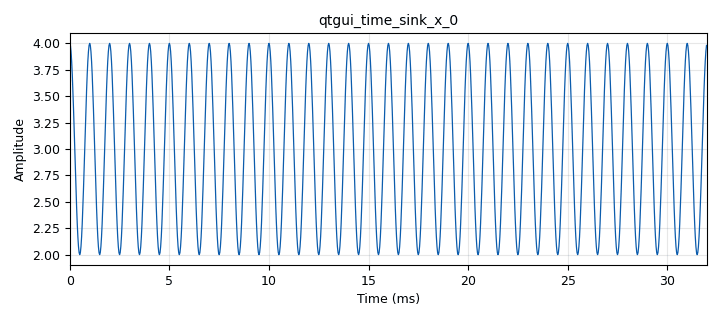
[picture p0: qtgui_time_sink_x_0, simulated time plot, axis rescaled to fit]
options:
  parameters:
    author: CarolayCastellanos.DylanVillalba.EstebanRosas
    copyright: UIS
    generate_options: qt_gui
    id: Lab2
    output_language: python
    title: Programacion de sistemas en tiempo real
  states: {}

blocks:
- name: frecuencia1
  id: variable
  parameters:
    value: '1000'
  states: {}
- name: samp_rate
  id: variable
  parameters:
    value: '32000'
  states: {}
- name: analog_sig_source_x_0
  id: analog_sig_source_x
  parameters:
    amp: '1'
    freq: frecuencia1
    offset: '3'
    phase: '0'
    samp_rate: samp_rate
    type: float
    waveform: analog.GR_COS_WAVE
  states: {}
- name: epy_block_0
  id: epy_block
  parameters:
    _source_code: |
      """
      Embedded Python Blocks:

      Each time this file is saved, GRC will instantiate the first class it finds
      to get ports and parameters of your block. The arguments to __init__  will
      be the parameters. All of them are required to have default values!
      """

      import numpy as np
      from gnuradio import gr


      class blk(gr.sync_block):  # other base classes are basic_block, decim_block, interp_block
          """Embedded Python Block example - a simple multiply const"""

          def __init__(self):  # only default arguments here
              """arguments to this function show up as parameters in GRC"""
              gr.sync_block.__init__(
                  self,
                  name='t_promedio',   # will show up in GRC
                  in_sig=[np.float32],   #Tenemos una señal de entrada de tipo flotante 
                  out_sig=[np.float32, np.float32, np.float32, np.float32, np.float32] #Tenemos 5 señales de salida de tipo flotante
             
              
              )
              # if an attribute with the same name as a parameter is found,
              # a callback is registered (properties work, too).
             
              
              self.acum_anterior = 0
              self.Ntotales = 0
              self.acum_anterior1 = 0
              self.acum_anterior2 = 0
              

          def work(self, input_items, output_items):
              """example: multiply with constant"""
              #output_items[0][:] = input_items[0] * self.example_param
              
              x = input_items[0]   #Señal de ENTRADA
              y0 = output_items[0] #Señal de salida para la MEDIA
              y1 = output_items[1] #Señal de salida para la MEDIA CUADRATICA
              y2 = output_items[2] #Señal de salida para el VALOR RMS
              y3 = output_items[3] #Señal de salida para la POTENCIA PROMEDIO
              y4 = output_items[4] #Señal desalida para la DESVIACION ESTANDAR
              
              #Calculamos el numero de muestras 
              N = len(x)
              self.Ntotales += N
              
              #MEDIA
              Acum_1 = self.acum_anterior + np.cumsum(x)
              self.acum_anterior = Acum_1[N-1]
              y0[:] = Acum_1/self.Ntotales #Calculo de la media
              
              
              #MEDIA CUADRATICA
              x2 = np.multiply(x,x)
              Acum_2 = self.acum_anterior1 + np.cumsum(x2)
              self.acum_anterior1 = Acum_2[N-1]
              y1[:] = Acum_2/self.Ntotales #Calculo de la media cuadratica
              
              #VALOR RMS
              y2[:] = np.sqrt(y1[:]) #Calculo del valor RMS
              
              #POTENCIA PROMEDIO
              y3[:] = np.power(y2[:],2) #Calculo de la potencia promedio
              
              #DESVIACION ESTANDAR
              x3 = np.multiply(x-y0,x-y0)
              Acum_3 = self.acum_anterior2 + np.cumsum(x3)
              self.acum_anterior2 = Acum_3[N-1]        
              y4[:] = np.sqrt(Acum_3/self.Ntotales) #Calculo de la desviacion estandar
              
              return len(output_items[0])
  states: {}
- name: qtgui_number_sink_0
  id: qtgui_number_sink
  parameters:
    graph_type: qtgui.NUM_GRAPH_HORIZ
    label1: MEDIA
    label2: MEDIA CUADRATICA
    label3: VALOR RMS
    label4: POTENCIA PROMEDIO
    label5: DESVIACION ESTANDAR
    nconnections: '5'
    type: float
  states: {}
- name: qtgui_time_sink_x_0
  id: qtgui_time_sink_x
  parameters:
    size: '1024'
    srate: samp_rate
    type: float
  states: {}

connections:
- [analog_sig_source_x_0, '0', epy_block_0, '0']
- [analog_sig_source_x_0, '0', qtgui_time_sink_x_0, '0']
- [epy_block_0, '0', qtgui_number_sink_0, '0']
- [epy_block_0, '1', qtgui_number_sink_0, '1']
- [epy_block_0, '2', qtgui_number_sink_0, '2']
- [epy_block_0, '3', qtgui_number_sink_0, '3']
- [epy_block_0, '4', qtgui_number_sink_0, '4']

metadata:
  file_format: 1
